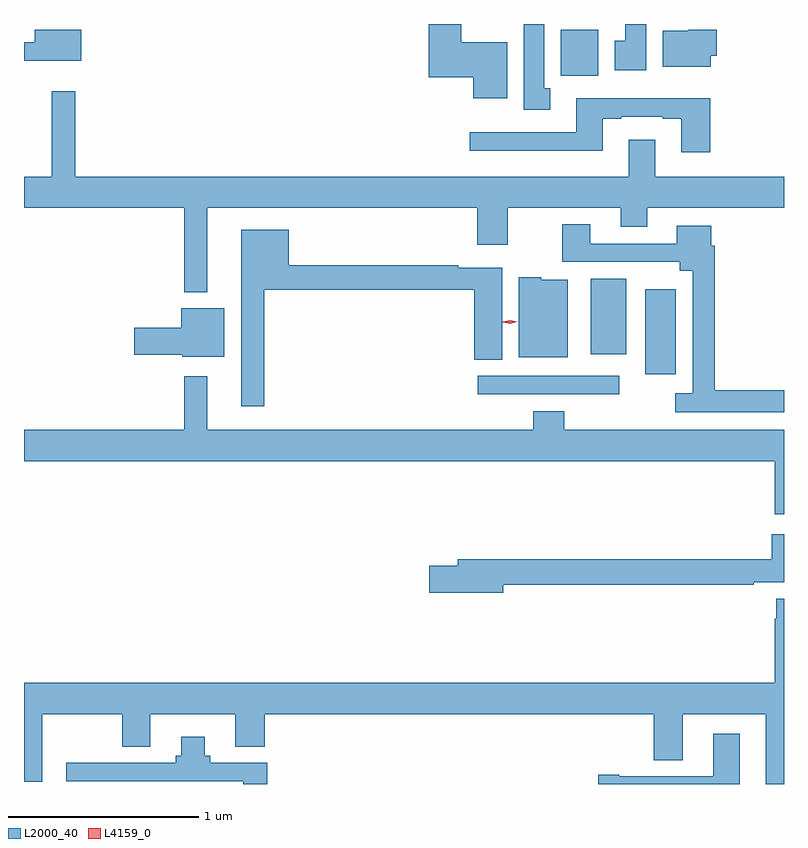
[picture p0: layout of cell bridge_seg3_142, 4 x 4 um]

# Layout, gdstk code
import gdstk
lib = gdstk.Library(unit=1e-6, precision=1e-09)
def R(c, l, rs):  # rectangles x0, y0, x1, y1
    for r in rs: c.add(gdstk.rectangle(r[:2], r[2:], *l))
def P(c, l, *ps):  # polygons
    for p in ps: c.add(gdstk.Polygon(p, *l))
L2000_40 = (2000, 40)
L4159_0 = (4159, 0)

bridge_seg3_142 = lib.new_cell('bridge_seg3_142')
R(bridge_seg3_142, L2000_40, [(354.069,689.28,354.814,689.376), (354.95,689.385,355.111,689.833), (354.662,689.489,354.85,689.887), (354.506,690.956,354.703,691.198)])
P(bridge_seg3_142, L2000_40, [(354.223,691.132),(353.98,691.132),(353.98,691.228),(353.81,691.228),(353.81,690.947),(354.044,690.947),(354.044,690.836),(354.223,690.836)],
  [(354.955,691.228),(354.845,691.228),(354.845,691.14),(354.788,691.14),(354.788,690.984),(354.955,690.984)],
  [(354.451,690.89),(354.418,690.89),(354.418,691.228),(354.311,691.228),(354.311,690.777),(354.451,690.777)],
  [(351.982,691.198),(351.737,691.198),(351.737,691.131),(351.68,691.131),(351.68,691.035),(351.741,691.035),(351.741,691.034),(351.982,691.034)],
  [(355.294,691.062),(355.325,691.062),(355.325,691.198),(355.176,691.198),(355.176,691.192),(355.043,691.192),(355.043,691.004),(355.294,691.004)],
  [(352.645,690.26),(354.065,690.26),(354.065,690.066),(354.225,690.066),(354.225,690.26),(354.821,690.26),(354.821,690.161),(354.961,690.161),(354.961,690.26),(355.68,690.26),(355.68,690.424),(355.003,690.424),(355.003,690.619),(354.863,690.619),(354.863,690.424),(351.949,690.424),(351.949,690.874),(351.827,690.874),(351.827,690.424),(351.68,690.424),(351.68,690.26),(352.524,690.26),(352.524,689.816),(352.645,689.816)],
  [(355.292,690.838),(354.587,690.838),(354.587,690.657),(354.027,690.657),(354.027,690.56),(354.727,690.56),(354.727,690.729),(354.823,690.729),(354.823,690.741),(355.043,690.741),(355.043,690.729),(355.139,690.729),(355.139,690.552),(355.292,690.552)],
  [(355.68,689.3),(355.316,689.3),(355.316,690.062),(355.297,690.062),(355.297,690.166),(355.115,690.166),(355.115,690.072),(354.661,690.072),(354.661,690.175),(354.514,690.175),(354.514,689.976),(355.13,689.976),(355.13,689.93),(355.2,689.93),(355.2,689.284),(355.107,689.284),(355.107,689.184),(355.68,689.184)],
  [(352.945,689.83),(354.05,689.83),(354.05,689.461),(354.196,689.461),(354.196,689.946),(353.966,689.946),(353.966,689.959),(353.074,689.959),(353.074,690.145),(352.823,690.145),(352.823,689.217),(352.945,689.217)],
  [(354.541,689.881),(354.402,689.881),(354.402,689.896),(354.284,689.896),(354.284,689.474),(354.541,689.474)],
  [(352.735,689.731),(352.508,689.731),(352.508,689.63),(352.26,689.63),(352.26,689.488),(352.512,689.488),(352.512,689.477),(352.735,689.477)],
  [(355.68,689.092),(354.524,689.092),(354.524,689.191),(354.359,689.191),(354.359,689.092),(352.645,689.092),(352.645,689.374),(352.524,689.374),(352.524,689.092),(351.68,689.092),(351.68,688.928),(355.632,688.928),(355.632,688.647),(355.68,688.647)],
  [(354.202,688.276),(355.52,688.276),(355.52,688.289),(355.68,688.289),(355.68,688.543),(355.616,688.543),(355.616,688.412),(353.963,688.412),(353.963,688.376),(353.814,688.376),(353.814,688.234),(354.202,688.234)],
  [(355.68,688.204),(355.638,688.204),(355.638,688.097),(355.632,688.097),(355.632,687.76),(351.68,687.76),(351.68,687.239),(351.775,687.239),(351.775,687.596),(352.198,687.596),(352.198,687.424),(352.345,687.424),(352.345,687.596),(352.793,687.596),(352.793,687.424),(352.946,687.424),(352.946,687.596),(354.995,687.596),(354.995,687.353),(355.147,687.353),(355.147,687.596),(355.583,687.596),(355.583,687.228),(355.68,687.228)],
  [(355.447,687.493),(355.307,687.493),(355.307,687.268),(354.814,687.268),(354.814,687.276),(354.702,687.276),(354.702,687.228),(355.447,687.228)],
  [(352.961,687.339),(352.661,687.339),(352.661,687.378),(352.63,687.378),(352.63,687.478),(352.508,687.478),(352.508,687.378),(352.478,687.378),(352.478,687.339),(351.903,687.339),(351.903,687.243),(352.835,687.243),(352.835,687.228),(352.961,687.228)])
P(bridge_seg3_142, L4159_0, [(354.239,689.65),(354.2,689.659),(354.2,689.66),(354.2,689.66),(354.238,689.67),(354.277,689.661),(354.277,689.66),(354.277,689.66)])

lib.write_gds('bridge_seg3_142.gds')
